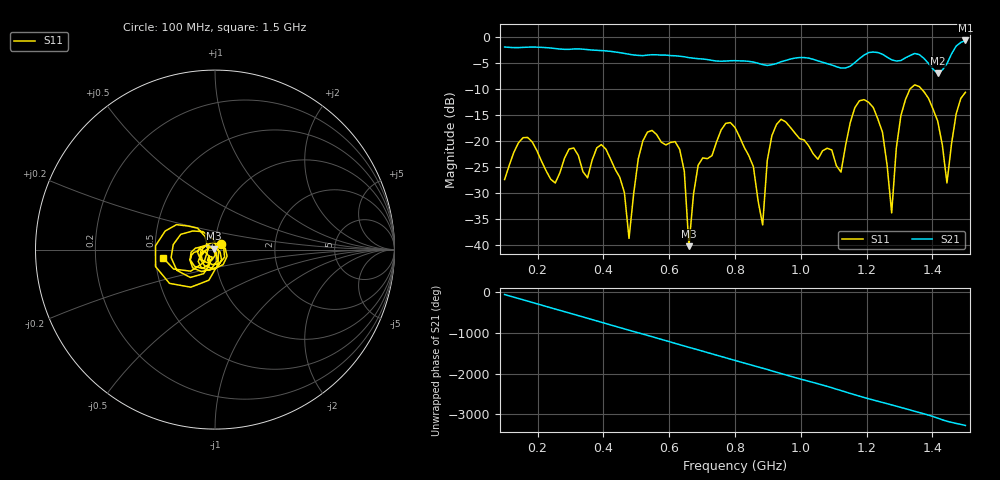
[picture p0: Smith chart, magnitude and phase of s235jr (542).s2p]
! NanoVNA-App
! Date: 2025-09-25 15:08:23
! Start: 100MHz Stop: 1,5GHz Points: 101
! S-Parameter data: F S11 S21 S12 S22
# Hz S RI R 50
!  Frequency  S11_Real  S11_Imag  S21_Real  S21_Imag  S12_Real  S12_Imag  S22_Real  S22_Imag
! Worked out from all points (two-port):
!   101 points, 100 MHz to 1.5 GHz, reference 50 ohm
!   highest |S21| = -0.71 dB at 1.5 GHz (marker M1); lowest = -7.0 dB at 1.416 GHz (marker M2)
!   |S21| within 3 dB of the highest: start of sweep to 626.5 MHz; 1.188 GHz to 1.257 GHz (68.44 MHz wide, 5.6 % of centre) (the widest 2 of 4)
!   lowest |S11| = -40.3 dB at 660 MHz (marker M3), VSWR 1.02, Z = 49.2 + j0.555 ohm
!   |S11| at or under -10 dB: start of sweep to 1.332 GHz; 1.366 GHz to end of sweep
!   S12 and S22 are empty: the file has one direction only
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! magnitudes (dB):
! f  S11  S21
! 100 MHz  -27.5  -2.0
! 156 MHz  -19.4  -2.0
! 338 MHz  -26.0  -2.4
! 408 MHz  -21.6  -2.7
! 478 MHz  -38.8  -3.4
! 520 MHz  -20.0  -3.6
! 576 MHz  -20.3  -3.5
! 632 MHz  -21.7  -3.7
! 660 MHz  -40.3  -4.0
! 688 MHz  -24.7  -4.2
! 800 MHz  -17.5  -4.6
! 884 MHz  -36.2  -5.4
! 926 MHz  -16.9  -5.2
! 1.038 GHz  -22.6  -4.3
! 1.122 GHz  -26.0  -6.0
! 1.206 GHz  -12.6  -3.0
! 1.248 GHz  -18.4  -3.3
! 1.276 GHz  -33.9  -4.4
! 1.332 GHz  -10.0  -3.6
! 1.416 GHz  -16.3  -7.0
! 1.444 GHz  -28.1  -5.2
! 1.5 GHz  -10.7  -0.7
